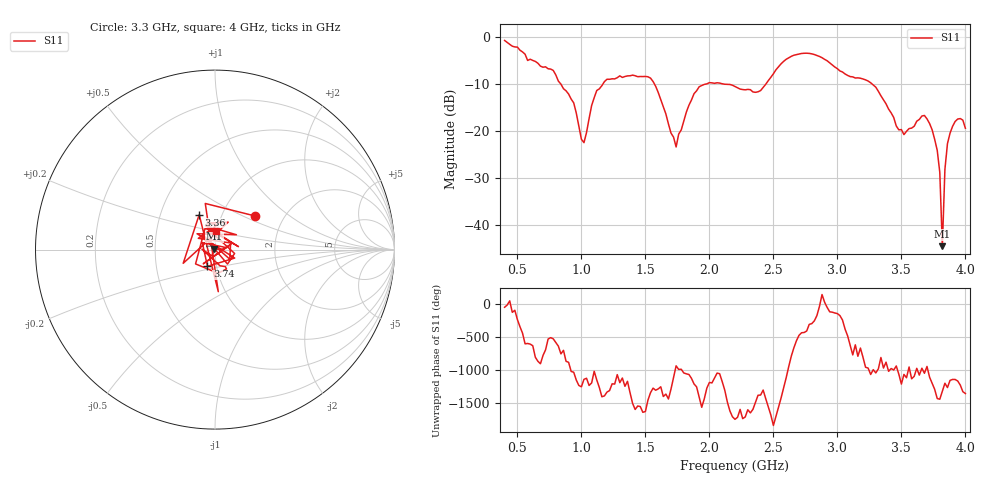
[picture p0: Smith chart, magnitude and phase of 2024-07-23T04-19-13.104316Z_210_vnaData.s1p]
!Created with skrf (http://scikit-rf.org).
# Hz S RI R 50.0
!freq ReS11 ImS11
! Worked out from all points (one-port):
!   181 points, 400 MHz to 4 GHz, reference 50 ohm
!   lowest |S11| = -44.6 dB at 3.82 GHz (marker M1), VSWR 1.01, Z = 49.7 + j0.487 ohm
!   |S11| at or under -10 dB: 1.569 GHz to 1.982 GHz (413.1 MHz wide, 23.3 % of centre); 2.099 GHz to 2.443 GHz (343.9 MHz wide, 15.1 % of centre); 3.269 GHz to end of sweep (the widest 3 of 4)
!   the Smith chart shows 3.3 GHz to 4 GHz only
!   S11 on the Smith chart (normalised r, x): 3.3 GHz: 1.43, +0.59; 3.36 GHz: 0.78, +0.32; 3.74 GHz: 0.90, -0.17; 4 GHz: 0.99, +0.21
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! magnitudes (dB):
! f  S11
! 400 MHz  -0.8
! 780 MHz  -7.2
! 860 MHz  -11.1
! 940 MHz  -14.1
! 1.02 GHz  -22.6
! 1.12 GHz  -11.4
! 1.3 GHz  -8.3
! 1.54 GHz  -8.8
! 1.74 GHz  -23.5
! 1.76 GHz  -20.7
! 1.92 GHz  -10.7
! 2.2 GHz  -10.6
! 2.4 GHz  -11.5
! 2.66 GHz  -3.9
! 2.86 GHz  -4.2
! 3.1 GHz  -8.5
! 3.3 GHz  -10.7
! 3.36 GHz  -13.4
! 3.48 GHz  -19.8
! 3.56 GHz  -19.6
! 3.68 GHz  -16.8
! 3.74 GHz  -19.8
! 3.8 GHz  -28.9
! 3.82 GHz  -44.6
! 3.84 GHz  -28.3
! 3.86 GHz  -22.8
! 3.94 GHz  -17.5
! 4 GHz  -19.5
